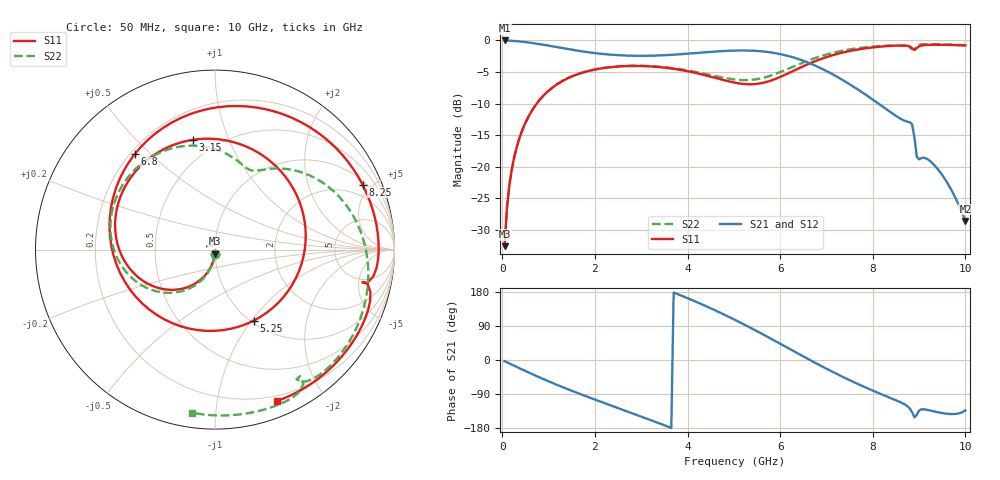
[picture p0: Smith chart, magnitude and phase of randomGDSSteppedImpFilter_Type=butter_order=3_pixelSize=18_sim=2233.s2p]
! freq	dB(S11)	phase(S11)	dB(S12)	phase(S12)
!  dB(S21)	phase(S21)	dB(S22)	phase(S22)
!S-par simulation data
#  GHz  S  DB  R 50
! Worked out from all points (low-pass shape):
!   200 points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, 50 MHz to 10 GHz, reference 50 ohm
!   highest |S21| = -0.01 dB at 50 MHz (marker M1); lowest = -28.6 dB at 10 GHz (marker M2)
!   |S21| within 3 dB of the highest: start of sweep to 6.417 GHz
!   lowest |S11| = -32.6 dB at 50 MHz (marker M3), VSWR 1.05, Z = 49.8 - j2.34 ohm
!   |S11| at or under -10 dB: start of sweep to 744.7 MHz
!   |S22| runs from -32.6 to -0.6 dB; largest |S21 - S12| = 0
!   S11 on the Smith chart (normalised r, x): 50 MHz: 1.00, -0.05; 3.15 GHz: 0.37, +0.75; 5.25 GHz: 1.03, -1.03; 6.8 GHz: 0.22, +0.45; 8.25 GHz: 1.18, +4.45; 10 GHz: 0.15, -1.48
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0.05  -32.59 -93.1  -0.01 -3.0  -0.01 -3.0  -32.59 -92.9
0.2  -20.64 -102.7  -0.06 -11.8  -0.06 -11.8  -20.64 -101.8
0.5  -13.04 -120.8  -0.27 -29.1  -0.27 -29.1  -13.04 -118.5
1.1  -7.38 -154.6  -0.96 -61.4  -0.96 -61.4  -7.37 -149.3
1.75  -5.06 171.8  -1.76 -92.9  -1.76 -92.9  -5.04 -178.8
2.4  -4.19 139.8  -2.29 -122.2  -2.29 -122.2  -4.17 154.7
3.15  -4.10 101.3  -2.43 -155.8  -2.43 -155.8  -4.05 126.3
3.4  -4.23 87.4  -2.37 -167.4  -2.37 -167.4  -4.17 117.2
4.35  -5.46 24.6  -1.90 144.7  -1.90 144.7  -5.25 85.7
5.05  -6.73 -39.4  -1.60 104.4  -1.60 104.4  -6.21 69.6
5.25  -6.92 -61.3  -1.59 92.0  -1.59 92.0  -6.29 66.5
5.85  -6.23 -132.0  -1.96 52.9  -1.96 52.9  -5.44 57.0
6.3  -4.77 178.2  -2.73 22.7  -2.73 22.7  -4.09 45.1
6.7  -3.45 139.2  -3.81 -3.8  -3.81 -3.8  -2.93 30.6
6.8  -3.16 130.1  -4.13 -10.3  -4.13 -10.3  -2.68 26.6
7.45  -1.75 77.4  -6.71 -50.3  -6.71 -50.3  -1.48 -0.9
8.25  -0.93 23.8  -10.67 -93.6  -10.67 -93.6  -0.85 -34.5
8.35  -0.88 17.7  -11.19 -98.6  -11.19 -98.6  -0.82 -38.5
8.85  -1.23 -12.4  -13.32 -138.3  -13.32 -138.3  -1.37 -57.8
8.95  -1.21 -12.6  -18.43 -144.9  -18.43 -144.9  -0.95 -56.7
9.15  -0.72 -24.2  -18.68 -130.9  -18.68 -130.9  -0.60 -66.7
10  -0.80 -67.8  -28.59 -133.0  -28.59 -133.0  -0.75 -98.1
